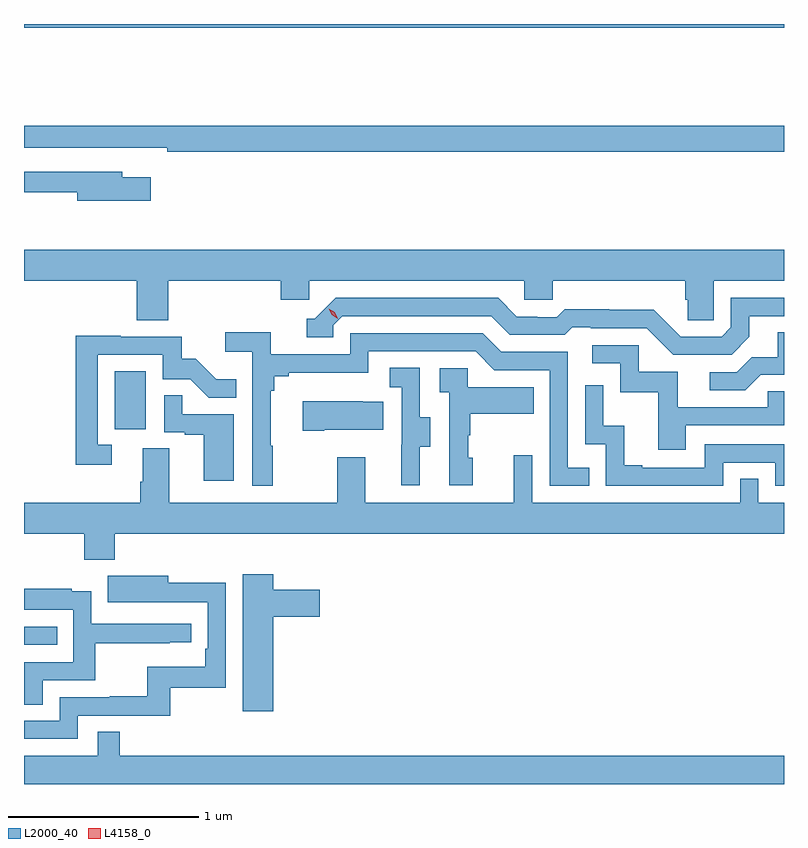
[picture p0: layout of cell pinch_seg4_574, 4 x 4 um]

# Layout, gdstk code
import gdstk
lib = gdstk.Library(unit=1e-6, precision=1e-09)
def R(c, l, rs):  # rectangles x0, y0, x1, y1
    for r in rs: c.add(gdstk.rectangle(r[:2], r[2:], *l))
def P(c, l, *ps):  # polygons
    for p in ps: c.add(gdstk.Polygon(p, *l))
L2000_40 = (2000, 40)
L4158_0 = (4158, 0)

pinch_seg4_574 = lib.new_cell('pinch_seg4_574')
R(pinch_seg4_574, L2000_40, [(1069.271,786.912,1069.445,787.008), (1069.748,788.046,1069.912,788.353), (1069.271,790.16,1073.271,790.18)])
P(pinch_seg4_574, L2000_40, [(1073.271,789.644),(1069.271,789.644),(1069.271,789.528),(1070.026,789.528),(1070.026,789.508),(1073.271,789.508)],
  [(1069.939,789.373),(1069.789,789.373),(1069.789,789.402),(1069.271,789.402),(1069.271,789.294),(1069.55,789.294),(1069.55,789.251),(1069.939,789.251)],
  [(1070.03,788.828),(1070.621,788.828),(1070.621,788.73),(1070.772,788.73),(1070.772,788.828),(1071.903,788.828),(1071.903,788.73),(1072.053,788.73),(1072.053,788.828),(1072.751,788.828),(1072.751,788.73),(1072.765,788.73),(1072.765,788.62),(1072.902,788.62),(1072.902,788.828),(1073.271,788.828),(1073.271,788.992),(1069.271,788.992),(1069.271,788.828),(1069.865,788.828),(1069.865,788.62),(1070.03,788.62)],
  [(1073.089,788.533),(1073.089,788.643),(1073.271,788.643),(1073.271,788.739),(1072.992,788.739),(1072.992,788.583),(1072.944,788.535),(1072.728,788.535),(1072.586,788.677),(1072.35,788.677),(1072.35,788.68),(1072.117,788.68),(1072.075,788.637),(1071.972,788.637),(1071.972,788.64),(1071.865,788.64),(1071.766,788.739),(1070.913,788.739),(1070.802,788.628),(1070.759,788.628),(1070.759,788.532),(1070.898,788.532),(1070.898,788.595),(1070.946,788.643),(1071.729,788.643),(1071.828,788.544),(1072.117,788.544),(1072.156,788.583),(1072.255,788.583),(1072.255,788.58),(1072.548,788.58),(1072.689,788.439),(1072.995,788.439)],
  [(1070.581,787.961),(1070.569,787.961),(1070.569,788.249),(1070.588,788.249),(1070.588,788.326),(1070.665,788.326),(1070.665,788.345),(1071.084,788.345),(1071.084,788.457),(1071.648,788.457),(1071.747,788.358),(1072.038,788.358),(1072.038,787.749),(1072.247,787.749),(1072.247,787.845),(1072.134,787.845),(1072.134,788.454),(1071.784,788.454),(1071.685,788.553),(1070.988,788.553),(1070.988,788.442),(1070.57,788.442),(1070.57,788.558),(1070.331,788.558),(1070.331,788.456),(1070.472,788.456),(1070.472,787.749),(1070.581,787.749)],
  [(1073.149,788.334),(1073.271,788.334),(1073.271,788.558),(1073.237,788.558),(1073.237,788.426),(1073.102,788.426),(1073.022,788.346),(1072.881,788.346),(1072.881,788.253),(1073.068,788.253)],
  [(1069.732,787.965),(1069.659,787.965),(1069.659,788.439),(1070.001,788.439),(1070.001,788.31),(1070.145,788.31),(1070.243,788.212),(1070.387,788.212),(1070.387,788.311),(1070.283,788.311),(1070.176,788.418),(1070.1,788.418),(1070.1,788.535),(1069.781,788.535),(1069.781,788.54),(1069.543,788.54),(1069.543,787.86),(1069.732,787.86)],
  [(1072.753,788.067),(1073.271,788.067),(1073.271,788.247),(1073.185,788.247),(1073.185,788.163),(1072.711,788.163),(1072.711,788.349),(1072.506,788.349),(1072.506,788.49),(1072.263,788.49),(1072.263,788.394),(1072.41,788.394),(1072.41,788.241),(1072.609,788.241),(1072.609,787.938),(1072.753,787.938)],
  [(1071.355,787.954),(1071.409,787.954),(1071.409,788.109),(1071.354,788.109),(1071.354,788.372),(1071.195,788.372),(1071.195,788.269),(1071.258,788.269),(1071.258,787.965),(1071.257,787.965),(1071.257,787.752),(1071.355,787.752)],
  [(1071.634,787.896),(1071.609,787.896),(1071.609,788.015),(1071.619,788.015),(1071.619,788.129),(1071.953,788.129),(1071.953,788.269),(1071.606,788.269),(1071.606,788.367),(1071.459,788.367),(1071.459,788.243),(1071.51,788.243),(1071.51,787.752),(1071.634,787.752)],
  [(1072.95,787.872),(1073.226,787.872),(1073.226,787.749),(1073.271,787.749),(1073.271,787.968),(1072.854,787.968),(1072.854,787.845),(1072.525,787.845),(1072.525,787.858),(1072.43,787.858),(1072.43,788.066),(1072.32,788.066),(1072.32,788.278),(1072.224,788.278),(1072.224,787.968),(1072.332,787.968),(1072.332,787.749),(1072.95,787.749)],
  [(1070.374,788.127),(1070.105,788.127),(1070.105,788.225),(1070.01,788.225),(1070.01,788.031),(1070.117,788.031),(1070.117,788.019),(1070.216,788.019),(1070.216,787.776),(1070.374,787.776)],
  [(1070.851,788.045),(1071.161,788.045),(1071.161,788.191),(1071.053,788.191),(1071.053,788.194),(1070.739,788.194),(1070.739,788.038),(1070.851,788.038)],
  [(1069.748,787.496),(1073.271,787.496),(1073.271,787.66),(1073.136,787.66),(1073.136,787.787),(1073.04,787.787),(1073.04,787.66),(1071.945,787.66),(1071.945,787.909),(1071.848,787.909),(1071.848,787.66),(1071.067,787.66),(1071.067,787.9),(1070.92,787.9),(1070.92,787.66),(1070.035,787.66),(1070.035,787.946),(1069.895,787.946),(1069.895,787.772),(1069.883,787.772),(1069.883,787.66),(1069.271,787.66),(1069.271,787.496),(1069.588,787.496),(1069.588,787.361),(1069.748,787.361)],
  [(1070.584,787.061),(1070.827,787.061),(1070.827,787.203),(1070.584,787.203),(1070.584,787.285),(1070.423,787.285),(1070.423,786.564),(1070.584,786.564)],
  [(1069.554,786.54),(1070.041,786.54),(1070.041,786.687),(1070.334,786.687),(1070.334,787.238),(1070.029,787.238),(1070.029,787.276),(1069.711,787.276),(1069.711,787.136),(1069.925,787.136),(1069.925,787.137),(1070.238,787.137),(1070.238,786.892),(1070.225,786.892),(1070.225,786.796),(1069.92,786.796),(1069.92,786.641),(1069.723,786.641),(1069.723,786.636),(1069.458,786.636),(1069.458,786.513),(1069.271,786.513),(1069.271,786.417),(1069.554,786.417)],
  [(1069.369,786.726),(1069.646,786.726),(1069.646,786.922),(1070.039,786.922),(1070.039,786.927),(1070.152,786.927),(1070.152,787.023),(1069.626,787.023),(1069.626,787.195),(1069.523,787.195),(1069.523,787.207),(1069.271,787.207),(1069.271,787.098),(1069.53,787.098),(1069.53,786.822),(1069.271,786.822),(1069.271,786.598),(1069.369,786.598)],
  [(1073.271,786.328),(1069.775,786.328),(1069.775,786.455),(1069.659,786.455),(1069.659,786.328),(1069.271,786.328),(1069.271,786.18),(1073.271,786.18)])
P(pinch_seg4_574, L4158_0, [(1070.922,788.629),(1070.892,788.649),(1070.876,788.682),(1070.876,788.682),(1070.876,788.682),(1070.907,788.662),(1070.923,788.63),(1070.923,788.629)])

lib.write_gds('pinch_seg4_574.gds')
